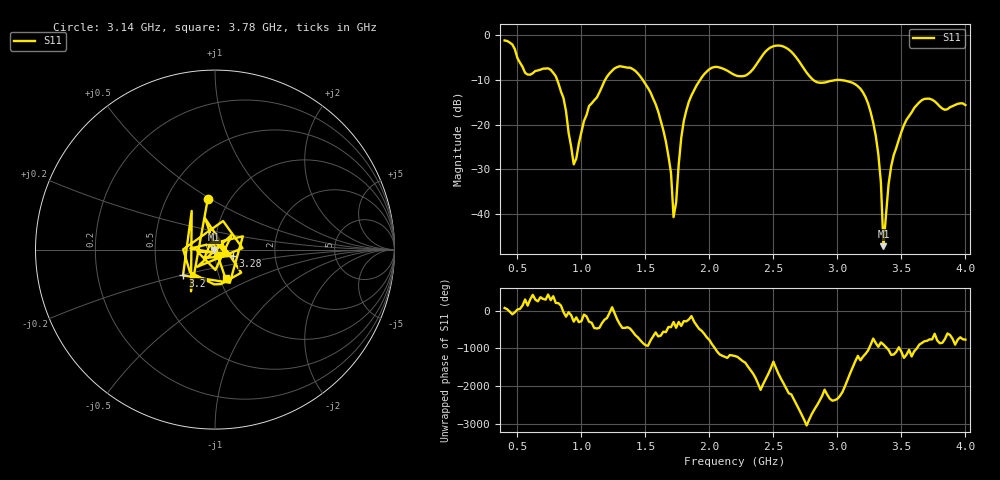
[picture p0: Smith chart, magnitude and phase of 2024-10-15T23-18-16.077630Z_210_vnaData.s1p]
! Created with skrf (http://scikit-rf.org).
# Hz S RI R 50.0
!freq ReS11 ImS11
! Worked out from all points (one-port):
!   181 points, 400 MHz to 4 GHz, reference 50 ohm
!   lowest |S11| = -47.1 dB at 3.36 GHz (marker M1), VSWR 1.01, Z = 49.6 - j0.018 ohm
!   |S11| at or under -10 dB: 810.5 MHz to 1.185 GHz (375 MHz wide, 37.6 % of centre); 1.479 GHz to 1.928 GHz (448.2 MHz wide, 26.3 % of centre); 2.812 GHz to end of sweep
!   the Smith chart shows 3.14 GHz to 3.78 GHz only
!   S11 on the Smith chart (normalised r, x): 3.14 GHz: 0.79, +0.48; 3.2 GHz: 0.67, -0.20; 3.28 GHz: 1.22, -0.09; 3.78 GHz: 1.06, -0.35
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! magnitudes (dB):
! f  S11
! 400 MHz  -1.2
! 580 MHz  -8.8
! 760 MHz  -7.7
! 860 MHz  -14.0
! 940 MHz  -28.9
! 1.06 GHz  -15.8
! 1.3 GHz  -7.0
! 1.58 GHz  -15.4
! 1.68 GHz  -27.1
! 1.7 GHz  -30.8
! 1.72 GHz  -40.6
! 1.76 GHz  -29.0
! 1.8 GHz  -19.2
! 1.9 GHz  -11.2
! 2.2 GHz  -8.9
! 2.5 GHz  -2.5
! 2.66 GHz  -4.3
! 2.84 GHz  -10.5
! 3.1 GHz  -10.5
! 3.14 GHz  -11.0
! 3.2 GHz  -12.8
! 3.28 GHz  -19.6
! 3.34 GHz  -33.0
! 3.36 GHz  -47.1
! 3.42 GHz  -29.3
! 3.56 GHz  -18.1
! 3.78 GHz  -15.3
! 4 GHz  -15.6
